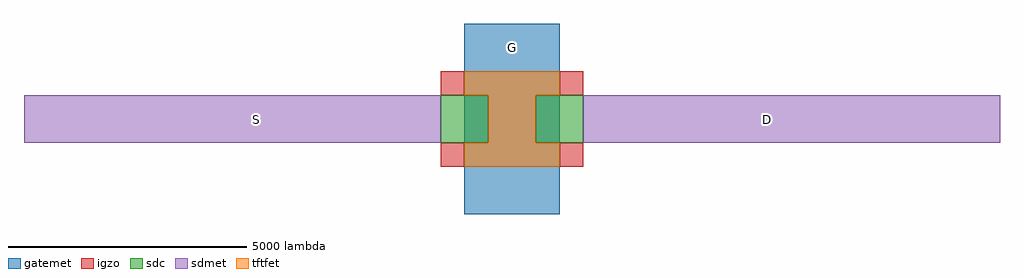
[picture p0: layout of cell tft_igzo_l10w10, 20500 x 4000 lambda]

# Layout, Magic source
magic
tech igzo_mmm_lab
<< igzo >>
rect -1500 500 -1000 1000
rect 1000 500 1500 1000
rect -1500 -1000 -1000 -500
rect 1000 -1000 1500 -500
<< tftfet >>
rect -1000 500 1000 1000
rect -500 -500 500 500
rect -1000 -1000 1000 -500
<< sdc >>
rect -1500 -500 -500 500
rect 500 -500 1500 500
<< sdmet >>
rect -10250 -500 -1500 500
rect 1500 -500 10250 500
<< gatemet >>
rect -1000 -2000 1000 2000
<< labels >>
rlabel sdmet s -5425 -50 -5325 50 4 S
port 3 nsew
rlabel sdmet s 5325 -50 5425 50 4 D
port 5 nsew
rlabel gatemet s -50 1450 50 1550 4 G
port 7 nsew
<< end >>
